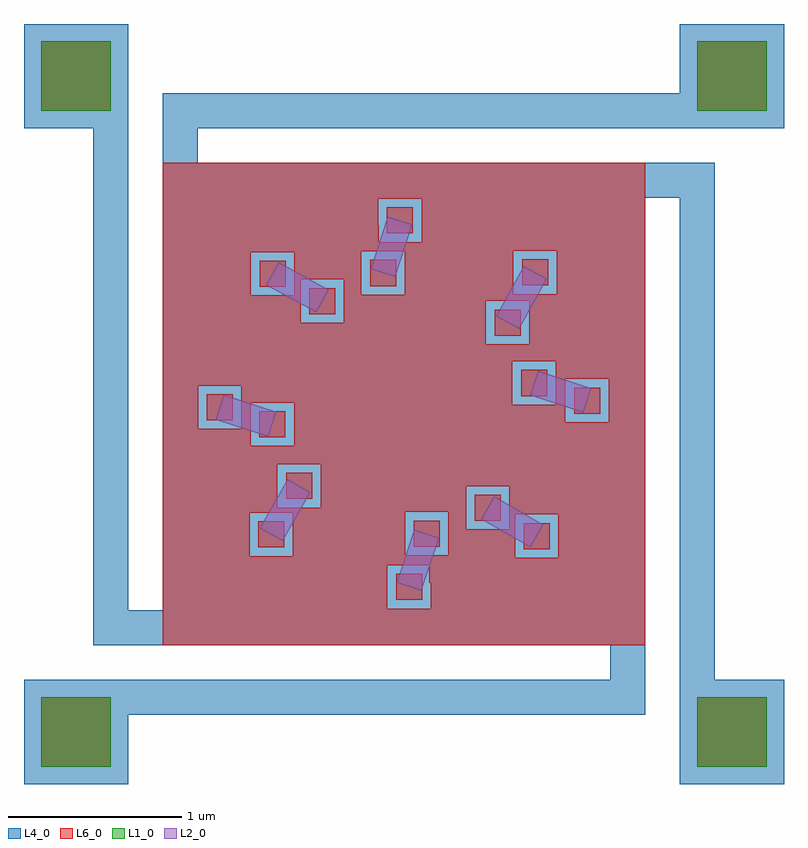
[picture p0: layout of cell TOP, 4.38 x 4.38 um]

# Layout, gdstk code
import gdstk
lib = gdstk.Library(unit=1e-6, precision=1e-09)
def R(c, l, rs):  # rectangles x0, y0, x1, y1
    for r in rs: c.add(gdstk.rectangle(r[:2], r[2:], *l))
def P(c, l, *ps):  # polygons
    for p in ps: c.add(gdstk.Polygon(p, *l))
L1_0 = (1, 0)
L2_0 = (2, 0)
L4_0 = (4, 0)
L6_0 = (6, 0)

top = lib.new_cell('TOP')
R(top, L1_0, [(-2.09,-2.09,-1.69,-1.69), (1.69,-2.09,2.09,-1.69), (-2.09,1.69,-1.69,2.09), (1.69,1.69,2.09,2.09)])
P(top, L2_0, [(-0.782,-0.188),(-1.084,-0.091),(-1.038,0.052),(-0.736,-0.045)],
  [(-0.7,-0.789),(-0.83,-0.715),(-0.67,-0.435),(-0.54,-0.509)],
  [(0.1,-1.076),(-0.042,-1.029),(0.06,-0.724),(0.202,-0.771)],
  [(0.727,-0.825),(0.446,-0.663),(0.521,-0.533),(0.802,-0.695)],
  [(1.032,-0.051),(0.727,0.05),(0.774,0.193),(1.079,0.092)],
  [(0.664,0.433),(0.532,0.505),(0.69,0.793),(0.822,0.721)],
  [(-0.049,0.732),(-0.192,0.777),(-0.095,1.08),(0.048,1.035)],
  [(-0.507,0.528),(-0.793,0.685),(-0.721,0.816),(-0.435,0.659)])
P(top, L4_0, [(-2.19,-2.19),(-2.19,-1.59),(1.19,-1.59),(1.19,-1.39),(-1.79,-1.39),(-1.79,1.59),(-2.19,1.59),(-2.19,2.19),(-1.59,2.19),(-1.59,-1.19),(-1.39,-1.19),(-1.39,1.79),(1.59,1.79),(1.59,2.19),(2.19,2.19),(2.19,1.59),(-1.19,1.59),(-1.19,1.39),(1.79,1.39),(1.79,-1.59),(2.19,-1.59),(2.19,-2.19),(1.59,-2.19),(1.59,1.19),(1.39,1.19),(1.39,-1.79),(-1.59,-1.79),(-1.59,-2.19)])
R(top, L6_0, [(-2.09,-2.09,-1.69,-1.69), (1.69,-2.09,2.09,-1.69), (-0.046,-1.129,0.104,-0.979), (0.69,-0.836,0.84,-0.686), (-0.84,-0.827,-0.69,-0.677), (0.056,-0.822,0.206,-0.672), (0.408,-0.673,0.558,-0.523), (-0.68,-0.547,-0.53,-0.397), (-0.833,-0.192,-0.683,-0.042), (-1.137,-0.094,-0.987,0.056), (0.98,-0.055,1.13,0.095), (0.675,0.046,0.825,0.196), (0.522,0.394,0.672,0.544), (-0.546,0.518,-0.396,0.668), (-0.832,0.676,-0.682,0.826), (-0.195,0.68,-0.045,0.83), (0.681,0.683,0.831,0.833), (-0.099,0.983,0.051,1.133), (-2.09,1.69,-1.69,2.09), (1.69,1.69,2.09,2.09)])
P(top, L6_0, [(-1.39,-1.39),(-1.39,-0.929),(-0.096,-0.929),(-0.096,-1.179),(0.154,-1.179),(0.154,-1.03),(0.145,-1.03),(0.145,-0.93),(0.154,-0.93),(0.154,-0.929),(-1.39,-0.929),(-1.39,-0.627),(-0.89,-0.627),(-0.89,-0.877),(-0.64,-0.877),(-0.64,-0.627),(-1.39,-0.627),(-1.39,-0.622),(0.006,-0.622),(0.006,-0.872),(0.256,-0.872),(0.256,-0.622),(-1.39,-0.622),(-1.39,-0.347),(-0.73,-0.347),(-0.73,-0.597),(-0.48,-0.597),(-0.48,-0.473),(0.358,-0.473),(0.358,-0.723),(0.608,-0.723),(0.608,-0.636),(0.64,-0.636),(0.64,-0.886),(0.89,-0.886),(0.89,-0.636),(0.608,-0.636),(0.608,-0.473),(-0.48,-0.473),(-0.48,-0.347),(-1.39,-0.347),(-1.39,0.106),(-1.187,0.106),(-1.187,-0.144),(-0.937,-0.144),(-0.937,0.008),(-0.883,0.008),(-0.883,-0.242),(-0.633,-0.242),(-0.633,0.008),(-0.937,0.008),(-0.937,0.106),(-1.39,0.106),(-1.39,0.246),(0.625,0.246),(0.625,-0.004),(0.875,-0.004),(0.875,0.145),(0.93,0.145),(0.93,-0.105),(1.18,-0.105),(1.18,0.145),(0.875,0.145),(0.875,0.246),(-1.39,0.246),(-1.39,0.876),(-0.882,0.876),(-0.882,0.626),(-0.632,0.626),(-0.632,0.718),(-0.596,0.718),(-0.596,0.468),(-0.346,0.468),(-0.346,0.594),(0.472,0.594),(0.472,0.344),(0.722,0.344),(0.722,0.594),(-0.346,0.594),(-0.346,0.718),(-0.632,0.718),(-0.632,0.876),(-1.39,0.876),(-1.39,0.88),(-0.245,0.88),(-0.245,0.63),(0.005,0.63),(0.005,0.88),(-1.39,0.88),(-1.39,0.883),(0.631,0.883),(0.631,0.633),(0.881,0.633),(0.881,0.883),(-1.39,0.883),(-1.39,1.183),(-0.149,1.183),(-0.149,1.03),(-0.145,1.03),(-0.145,0.933),(0.101,0.933),(0.101,1.183),(-1.39,1.183),(-1.39,1.39),(1.39,1.39),(1.39,-1.39)])

lib.write_gds('TOP.gds')
